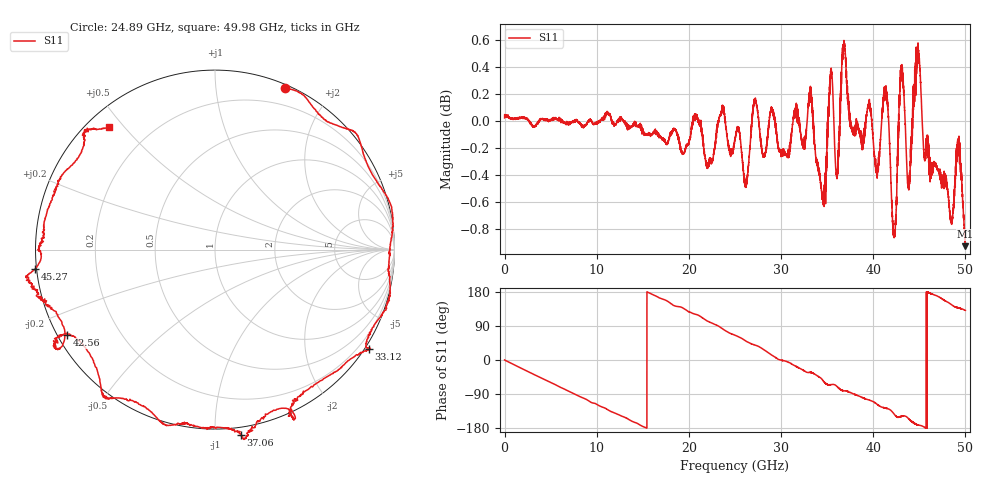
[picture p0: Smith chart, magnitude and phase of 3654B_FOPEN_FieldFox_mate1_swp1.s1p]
!Created with skrf (http://scikit-rf.org).
# Hz S RI R 50.0
!freq ReS11 ImS11
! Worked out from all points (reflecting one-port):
!   10001 points, 300 kHz to 50 GHz, reference 50 ohm
!   lowest |S11| = -0.9 dB at 50 GHz (marker M1), VSWR 18.78, Z = 3.22 + j22.8 ohm
!   phase of S11 starts at 0 deg and turns -589 deg over the sweep
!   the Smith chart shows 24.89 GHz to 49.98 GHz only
!   S11 on the Smith chart (normalised r, x): 24.89 GHz: 0.03, +1.53; 33.12 GHz: -0.13, -3.40; 37.06 GHz: -0.05, -1.15; 42.56 GHz: 0.03, -0.27; 45.27 GHz: -0.00, -0.05; 49.98 GHz: 0.06, +0.45
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300000  1.003 0.00143
2.645284e9  0.8499 -0.5272
6.250262e9  0.274 -0.962
9.015246e9  -0.2768 -0.9604
1.250022e10  -0.8274 -0.5627
1.561521e10  -0.9877 0.0372
1.875019e10  -0.7716 0.6199
2.098017e10  -0.4787 0.878
2.313516e10  -0.0063 0.9988
2.489015e10  0.3915 0.8983
2.500015e10  0.4119 0.8955
2.739014e10  0.803 0.6159
2.890513e10  0.9792 0.2495
3.125011e10  0.9753 -0.2089
3.31201e10  0.8585 -0.5523
3.523009e10  0.423 -0.9333
3.705508e10  0.1445 -1.035
3.750008e10  0.0785 -0.9942
3.956506e10  -0.2768 -0.979
4.140505e10  -0.6163 -0.8139
4.256004e10  -0.826 -0.4744
4.327504e10  -0.8685 -0.5508
4.375004e10  -0.8411 -0.4351
4.470503e10  -1.037 -0.1743
4.526503e10  -1.003 -0.1096
4.903001e10  -0.7258 0.6378
4.998e10  -0.5905 0.681
5e10  -0.5876 0.6803
